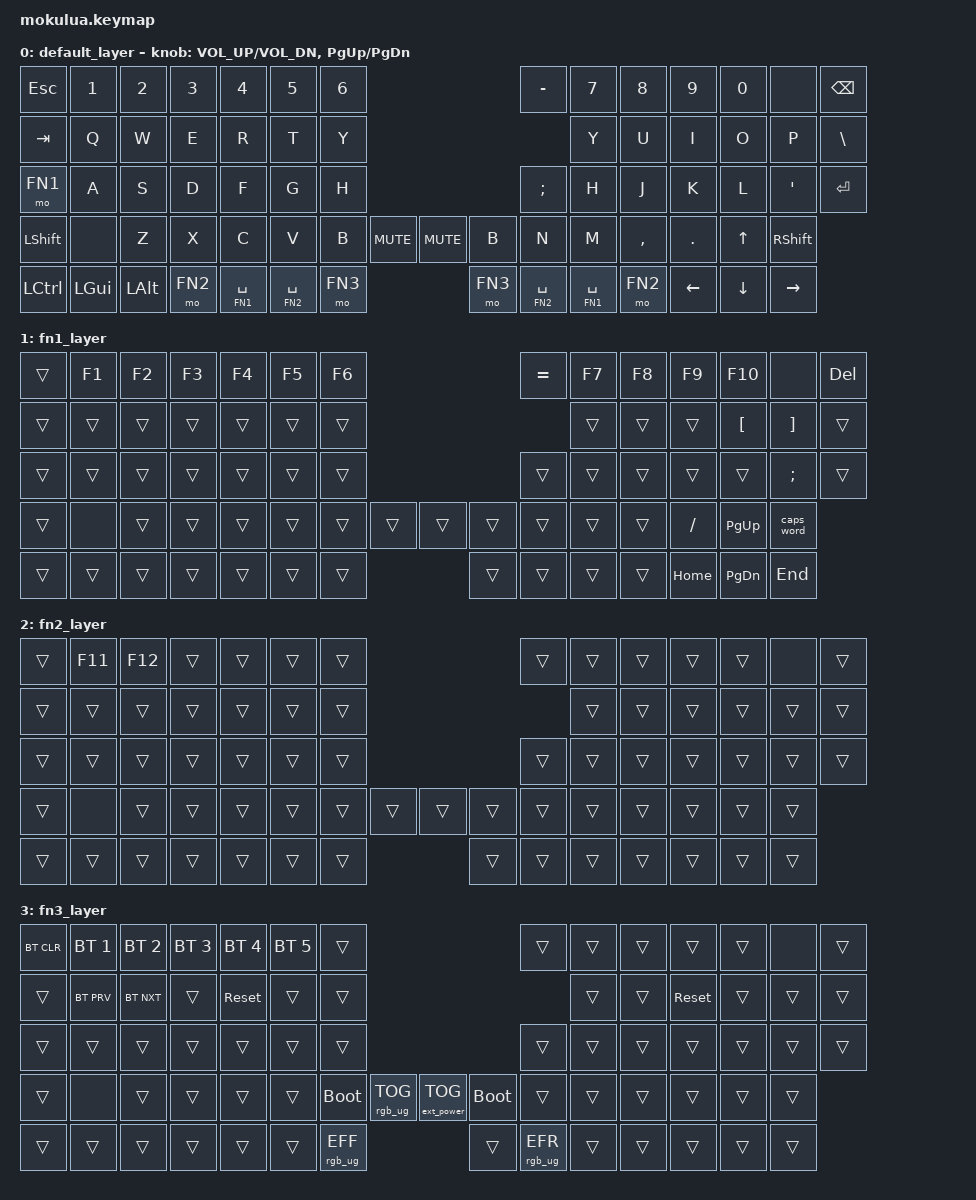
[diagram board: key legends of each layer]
/*
 * Copyright (c) 2022 The ZMK Contributors
 *
 * SPDX-License-Identifier: MIT
 */

#include <behaviors.dtsi>
#include <dt-bindings/zmk/keys.h>
#include <dt-bindings/zmk/bt.h>
#include <dt-bindings/zmk/rgb.h>
#include <dt-bindings/zmk/ext_power.h>

#define BASE 0
#define FN1  1
#define FN2  2
#define FN3  3

/ {
        keymap {
                compatible = "zmk,keymap";

                default_layer {
//    --------------------------------------------          ---------------------------------------------
//    |  ESC |  1  |  2  |  3  |  4  |  5  |  6  |          |  -  |  7  |  8  |  9  |  0  | NONE | BKSP |
//   |  TAB   |  Q  |  W  |  E  |  R  |  T  |  Y  |             |  Y  |  U  |  I  |  O  |   P   |    \    |
//  |   FN1   |  A  |  S  |  D  |  F  |  G  |  H  |           |  ;  |  H  |  J  |  K  |  L  |  '  |   ENT   |
// | SHFT |NONE|  Z  |  X  |  C  |  V  |  B  | MUTE |    | MUTE |  B  |  N  |  M   |  , |  .  |  UP  |  SHFT |
// | CTRL | GUI | ALT |  FN2  |  SP1  |  SP2  | FN3 |    | FN3 |  SP2  |  SP1  |  FN2  |  LFT  | DWN | RGHT |
// --------------------------------------------------    ----------------------------------------------------
                        bindings = <
   &kp ESC   &kp N1   &kp N2   &kp N3  &kp N4  &kp N5 &kp N6                             &kp MINUS  &kp N7 &kp N8 &kp N9   &kp N0  &none    &kp BSPC
   &kp TAB   &kp Q    &kp W    &kp E   &kp R   &kp T  &kp Y                                         &kp Y  &kp U  &kp I    &kp O   &kp P    &kp BSLH
   &mo FN1   &kp A    &kp S    &kp D   &kp F   &kp G  &kp H                              &kp SEMI   &kp H  &kp J  &kp K    &kp L   &kp SQT  &kp RET
   &kp LSHFT &none    &kp Z    &kp X   &kp C   &kp V  &kp B  &kp C_MUTE       &kp C_MUTE &kp B  &kp N  &kp M    &kp COMMA  &kp DOT &kp UP   &kp RSHFT 
   &kp LCTRL &kp LGUI &kp LALT &mo FN2 &lt FN1 SPACE &lt FN2 SPACE &mo FN3    &mo FN3 &lt FN2 SPACE &lt FN1 SPACE &mo FN2 &kp LEFT &kp DOWN &kp RIGHT
                        >;
                sensor-bindings = <&inc_dec_kp C_VOL_UP C_VOL_DN &inc_dec_kp PG_UP PG_DN>;
                };

                fn1_layer {
//    --------------------------------------------          --------------------------------------
//    |      | F1  | F2  | F3  | F4  | F5  | F6  |          |  =  | F7  | F8  | F9  | F10 | NONE | DEL |
//   |        |     |     |     |     |     |     |             |     |     |     | LBKT | RBKT |        |
//  |         |     |     |     |     |     |     |           |     |     |     |     |     |  ;  |        |
// |      |NONE|     |     |     |     |     |      |    |      |     |     |      |    |   /  | PGUP|CAPS WORD|
// |      |     |     |       |       |       |     |    |     |       |       |       |  HOME |PGDWN|  END |
// --------------------------------------------------    ----------------------------------------------------
                        bindings = <
   &trans &kp F1 &kp F2 &kp F3 &kp F4 &kp F5 &kp F6                &kp EQUAL &kp F7 &kp F8 &kp F9 &kp F10  &none     &kp DEL
   &trans &trans &trans &trans &trans &trans &trans                          &trans &trans &trans &kp LBKT &kp RBKT  &trans
   &trans &trans &trans &trans &trans &trans &trans                &trans    &trans &trans &trans &trans   &kp SEMI  &trans
   &trans &none  &trans &trans &trans &trans &trans &trans  &trans &trans    &trans &trans &trans &kp FSLH &kp PG_UP &caps_word 
   &trans &trans &trans &trans &trans &trans &trans                &trans    &trans &trans &trans &kp HOME &kp PG_DN &kp END
                        >;
                };

                fn2_layer {
//    --------------------------------------------          --------------------------------------
//    |      | F11 | F12 |     |     |     |     |          |     |     |     |     |      | NONE |     |
//   |        |     |     |     |     |     |     |             |     |     |     |      |      |         |
//  |         |     |     |     |     |     |     |           |     |     |     |     |     |  ;  |        |
// |      |NONE|     |     |     |     |     |      |    |      |     |     |      |    |      |     |      |
// |      |     |     |       |       |       |     |    |     |       |       |       |       |     |      |
// --------------------------------------------------    ----------------------------------------------------
                        bindings = <
   &trans &kp F11 &kp F12 &trans &trans &trans &trans               &trans &trans &trans &trans &trans &none  &trans
   &trans &trans  &trans  &trans &trans &trans &trans                      &trans &trans &trans &trans &trans &trans
   &trans &trans  &trans  &trans &trans &trans &trans               &trans &trans &trans &trans &trans &trans &trans
   &trans &none   &trans  &trans &trans &trans &trans &trans &trans &trans &trans &trans &trans &trans &trans &trans 
   &trans &trans  &trans  &trans &trans &trans &trans               &trans &trans &trans &trans &trans &trans &trans
                        >;
                };

                fn3_layer {
//    --------------------------------------------          --------------------------------------
//    |BT CLR| BT1 | BT2 | BT3 | BT4 | BT5 |      |          |     |     |     |     |     | NONE |     |
//   |        |BT PRV|BT NXT|     |RESET|     |     |             |     |     |RESET|     |     |         |
//  |         |      |      |     |     |     |     |           |     |     |     |     |     |     |        |
// |      |NONE|      |      |     |    | BOOT |RGB_TOG|   |EP_TOG| BOOT |     |      |     |      |     |      |
// |      |     |      |        |       |      |RGB_EFR|   |RGB_EFF|       |       |       |       |     |      |
// --------------------------------------------------    --------------------------------------------------------
                        bindings = <                                                                   
   &bt BT_CLR &bt BT_SEL 1 &bt BT_SEL 2 &bt BT_SEL 3 &bt BT_SEL 4 &bt BT_SEL 5 &trans                                               &trans      &trans          &trans &trans     &trans &none  &trans
   &trans     &bt BT_PRV   &bt BT_NXT   &trans       &sys_reset   &trans       &trans                                                           &trans          &trans &sys_reset &trans &trans &trans
   &trans     &trans       &trans       &trans       &trans       &trans       &trans                                               &trans      &trans          &trans &trans     &trans &trans &trans
   &trans     &none        &trans       &trans       &trans       &trans       &bootloader     &rgb_ug RGB_TOG    &ext_power EP_TOG &bootloader &trans          &trans &trans     &trans &trans &trans 
   &trans     &trans       &trans       &trans       &trans       &trans       &rgb_ug RGB_EFF                                      &trans      &rgb_ug RGB_EFR &trans &trans     &trans &trans &trans
                        >;
                };
        };
};
